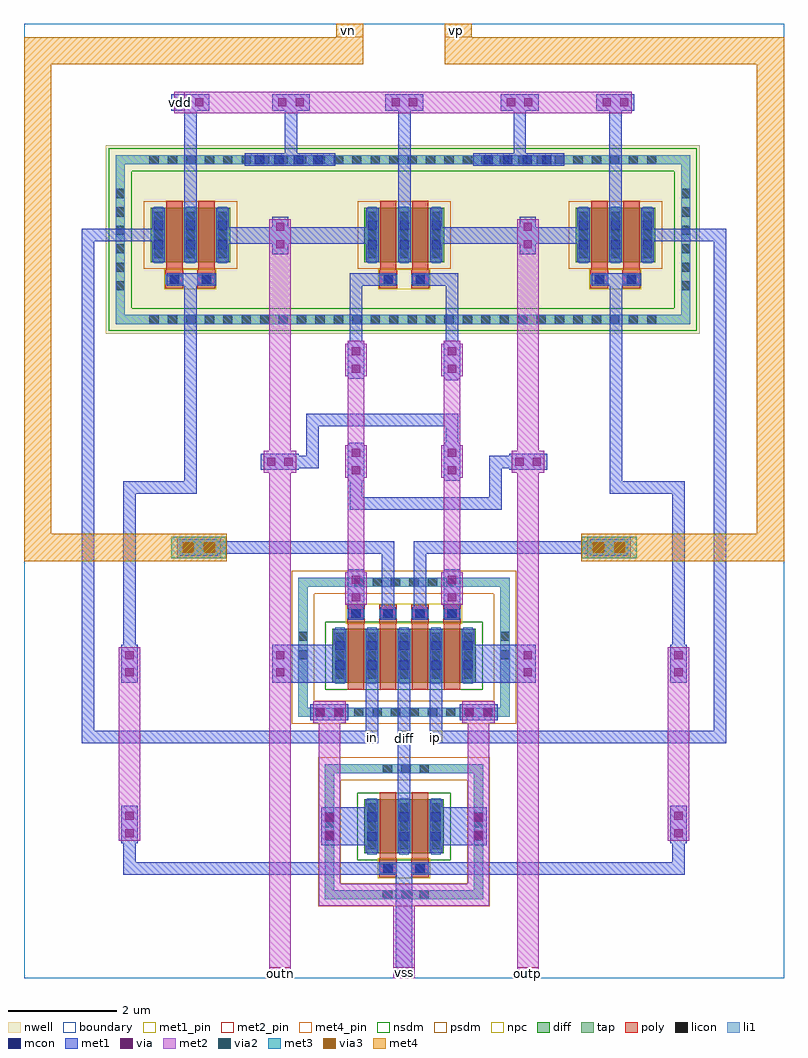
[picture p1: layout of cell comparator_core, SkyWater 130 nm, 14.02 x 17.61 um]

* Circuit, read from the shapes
.subckt comparator_core clk diff in ip outn outp vdd vn vp vss
XM1 in outp outn vss sky130_fd_pr__nfet_01v8 w=1 l=0.3
XM2 diff clk vss vss sky130_fd_pr__nfet_01v8 w=1 l=0.3 m=2
XM3 diff vn in vss sky130_fd_pr__nfet_01v8 w=1 l=0.3
XM4 ip vp diff vss sky130_fd_pr__nfet_01v8 w=1 l=0.3
XM5 outp outn ip vss sky130_fd_pr__nfet_01v8 w=1 l=0.3
XM6 vdd clk in vdd sky130_fd_pr__pfet_01v8 w=1 l=0.3
XM7 outn clk vdd vdd sky130_fd_pr__pfet_01v8 w=1 l=0.3
XM8 vdd outp outn vdd sky130_fd_pr__pfet_01v8 w=1 l=0.3
XM9 outp outn vdd vdd sky130_fd_pr__pfet_01v8 w=1 l=0.3
XM10 vdd clk outp vdd sky130_fd_pr__pfet_01v8 w=1 l=0.3
XM11 ip clk vdd vdd sky130_fd_pr__pfet_01v8 w=1 l=0.3
.ends

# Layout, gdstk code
from math import pi, radians
import gdstk
lib = gdstk.Library(unit=1e-6, precision=1e-09)
def R(c, l, rs):  # rectangles x0, y0, x1, y1
    for r in rs: c.add(gdstk.rectangle(r[:2], r[2:], *l))
def A(c, l, x, y, w, h, nx, ny, dx, dy):  # array of equal rectangles
    R(c, l, [(x+i*dx, y+j*dy, x+i*dx+w, y+j*dy+h) for i in range(nx) for j in range(ny)])
nwell = (64, 20)
diff = (65, 20)
tap = (65, 44)
poly = (66, 20)
licon = (66, 44)
li1 = (67, 20)
mcon = (67, 44)
met1_pin = (68, 16)
met1 = (68, 20)
via = (68, 44)
met2_pin = (69, 16)
met2 = (69, 20)
via2 = (69, 44)
met3 = (70, 20)
via3 = (70, 44)
met4_pin = (71, 16)
met4 = (71, 20)
nsdm = (93, 44)
psdm = (94, 20)
npc = (95, 20)
boundary = (235, 4)

gr_contact = lib.new_cell('gr_contact')
R(gr_contact, mcon, [(0.03,-0.01,0.2,0.16), (0.03,-0.01,0.2,0.16), (0.03,-0.01,0.2,0.16), (0.03,-0.01,0.2,0.16), (0.03,0.35,0.2,0.52), (0.03,0.35,0.2,0.52), (0.03,0.71,0.2,0.88), (0.03,0.71,0.2,0.88), (0.03,0.71,0.2,0.88), (0.03,0.71,0.2,0.88), (0.03,1.07,0.2,1.24), (0.03,1.07,0.2,1.24)])
gr_contact.add(gdstk.FlexPath([(0.115,1.36),(0.115,-0.085)], 0.23, ends="extended", simple_path=True, layer=68, datatype=20))  # met1

via2_1 = lib.new_cell('via2_1')
R(via2_1, met1, [(0,-0.15,0.7,0.15)])
R(via2_1, via, [(0.115,-0.075,0.265,0.075), (0.435,-0.075,0.585,0.075)])
R(via2_1, met2, [(0.05,-0.2,0.65,0.2)])

via1_2 = lib.new_cell('via1_2')
R(via1_2, li1, [(0.03,-0.17,0.56,0)])
R(via1_2, mcon, [(0.03,-0.17,0.2,0), (0.39,-0.17,0.56,0)])
R(via1_2, met1, [(0,-0.2,0.59,0.03)])

pguard = lib.new_cell('pguard')
R(pguard, tap, [(-5.3,-1.76,5.3,-1.59), (-5.3,-1.59,-5.13,1.19), (5.13,-1.59,5.3,1.19), (-5.3,1.19,5.3,1.36)])
A(pguard, licon, -4.675, -1.76, 0.17, 0.17, 28, 2, 0.34, 2.95)
A(pguard, licon, -5.3, -1.135, 0.17, 0.17, 1, 6, 0, 0.34)
A(pguard, licon, 5.13, -1.135, 0.17, 0.17, 1, 6, 0, 0.34)
R(pguard, li1, [(-5.3,-1.76,5.3,-1.59), (-5.3,-1.59,-5.13,1.19), (5.13,-1.59,5.3,1.19), (-5.3,1.19,5.3,1.36)])
R(pguard, nsdm, [(-5.425,-1.885,5.425,-1.465), (-5.425,-1.465,-5.005,1.065), (5.005,-1.465,5.425,1.065), (-5.425,1.065,5.425,1.485)])
R(pguard, boundary, [(-5.215,-1.675,5.215,1.275)])

c_m1 = lib.new_cell('M1')
R(c_m1, nwell, [(-0.62,-1.19,0.62,0.62)])
R(c_m1, diff, [(-0.44,-0.88,0.44,0.12)])
R(c_m1, poly, [(-0.15,-1.01,0.15,0.275), (-0.165,0.275,0.165,0.605)])
A(c_m1, licon, -0.38, -0.805, 0.17, 0.17, 1, 3, 0, 0.34)
A(c_m1, licon, 0.21, -0.805, 0.17, 0.17, 1, 3, 0, 0.34)
R(c_m1, licon, [(-0.085,0.355,0.085,0.525)])
R(c_m1, li1, [(-0.38,-0.9,-0.21,0.14), (0.21,-0.9,0.38,0.14), (-0.165,0.355,0.165,0.525)])
R(c_m1, mcon, [(-0.38,-0.645,-0.21,-0.475), (0.21,-0.645,0.38,-0.475), (-0.38,-0.285,-0.21,-0.115), (0.21,-0.285,0.38,-0.115), (-0.085,0.355,0.085,0.525)])
R(c_m1, met1, [(-0.41,-0.88,-0.18,0.12), (0.18,-0.88,0.41,0.12), (-0.145,0.325,0.145,0.555)])
R(c_m1, psdm, [(-0.565,-1.005,0.565,0.245)])
R(c_m1, npc, [(-0.185,0.255,0.185,0.625)])

c_m2 = lib.new_cell('M2')
R(c_m2, nwell, [(-0.62,-1.19,0.62,0.62)])
R(c_m2, diff, [(-0.44,-0.88,0.44,0.12)])
R(c_m2, poly, [(-0.15,-1.01,0.15,0.275), (-0.165,0.275,0.165,0.605)])
A(c_m2, licon, -0.38, -0.805, 0.17, 0.17, 1, 3, 0, 0.34)
A(c_m2, licon, 0.21, -0.805, 0.17, 0.17, 1, 3, 0, 0.34)
R(c_m2, licon, [(-0.085,0.355,0.085,0.525)])
R(c_m2, li1, [(-0.38,-0.9,-0.21,0.14), (0.21,-0.9,0.38,0.14), (-0.165,0.355,0.165,0.525)])
R(c_m2, mcon, [(-0.38,-0.645,-0.21,-0.475), (0.21,-0.645,0.38,-0.475), (-0.38,-0.285,-0.21,-0.115), (0.21,-0.285,0.38,-0.115), (-0.085,0.355,0.085,0.525)])
R(c_m2, met1, [(-0.41,-0.88,-0.18,0.12), (0.18,-0.88,0.41,0.12), (-0.145,0.325,0.145,0.555)])
R(c_m2, psdm, [(-0.565,-1.005,0.565,0.245)])
R(c_m2, npc, [(-0.185,0.255,0.185,0.625)])

c_m4 = lib.new_cell('M4')
R(c_m4, nwell, [(-0.62,-1.19,0.62,0.62)])
R(c_m4, diff, [(-0.44,-0.88,0.44,0.12)])
R(c_m4, poly, [(-0.15,-1.01,0.15,0.275), (-0.165,0.275,0.165,0.605)])
A(c_m4, licon, -0.38, -0.805, 0.17, 0.17, 1, 3, 0, 0.34)
A(c_m4, licon, 0.21, -0.805, 0.17, 0.17, 1, 3, 0, 0.34)
R(c_m4, licon, [(-0.085,0.355,0.085,0.525)])
R(c_m4, li1, [(-0.38,-0.9,-0.21,0.14), (0.21,-0.9,0.38,0.14), (-0.165,0.355,0.165,0.525)])
R(c_m4, mcon, [(-0.38,-0.645,-0.21,-0.475), (0.21,-0.645,0.38,-0.475), (-0.38,-0.285,-0.21,-0.115), (0.21,-0.285,0.38,-0.115), (-0.085,0.355,0.085,0.525)])
R(c_m4, met1, [(-0.41,-0.88,-0.18,0.12), (0.18,-0.88,0.41,0.12), (-0.145,0.325,0.145,0.555)])
R(c_m4, psdm, [(-0.565,-1.005,0.565,0.245)])
R(c_m4, npc, [(-0.185,0.255,0.185,0.625)])

c_m3 = lib.new_cell('M3')
R(c_m3, nwell, [(-0.62,-1.19,0.62,0.62)])
R(c_m3, diff, [(-0.44,-0.88,0.44,0.12)])
R(c_m3, poly, [(-0.15,-1.01,0.15,0.275), (-0.165,0.275,0.165,0.605)])
A(c_m3, licon, -0.38, -0.805, 0.17, 0.17, 1, 3, 0, 0.34)
A(c_m3, licon, 0.21, -0.805, 0.17, 0.17, 1, 3, 0, 0.34)
R(c_m3, licon, [(-0.085,0.355,0.085,0.525)])
R(c_m3, li1, [(-0.38,-0.9,-0.21,0.14), (0.21,-0.9,0.38,0.14), (-0.165,0.355,0.165,0.525)])
R(c_m3, mcon, [(-0.38,-0.645,-0.21,-0.475), (0.21,-0.645,0.38,-0.475), (-0.38,-0.285,-0.21,-0.115), (0.21,-0.285,0.38,-0.115), (-0.085,0.355,0.085,0.525)])
R(c_m3, met1, [(-0.41,-0.88,-0.18,0.12), (0.18,-0.88,0.41,0.12), (-0.145,0.325,0.145,0.555)])
R(c_m3, psdm, [(-0.565,-1.005,0.565,0.245)])
R(c_m3, npc, [(-0.185,0.255,0.185,0.625)])

mdiff = lib.new_cell('Mdiff')
R(mdiff, diff, [(-0.44,-0.855,0.44,0.145)])
R(mdiff, poly, [(-0.15,-0.985,0.15,0.255), (-0.165,0.255,0.165,0.585)])
A(mdiff, licon, -0.38, -0.78, 0.17, 0.17, 1, 3, 0, 0.34)
A(mdiff, licon, 0.21, -0.78, 0.17, 0.17, 1, 3, 0, 0.34)
R(mdiff, licon, [(-0.085,0.335,0.085,0.505)])
R(mdiff, li1, [(-0.38,-0.875,-0.21,0.165), (0.21,-0.875,0.38,0.165), (-0.165,0.335,0.165,0.505)])
R(mdiff, mcon, [(-0.38,-0.62,-0.21,-0.45), (0.21,-0.62,0.38,-0.45), (-0.38,-0.26,-0.21,-0.09), (0.21,-0.26,0.38,-0.09), (-0.085,0.335,0.085,0.505)])
R(mdiff, met1, [(-0.41,-0.855,-0.18,0.145), (0.18,-0.855,0.41,0.145), (-0.145,0.305,0.145,0.535)])
R(mdiff, nsdm, [(-0.565,-0.98,0.565,0.27)])
R(mdiff, npc, [(-0.185,0.235,0.185,0.605)])

ml2 = lib.new_cell('Ml2')
R(ml2, diff, [(-0.44,-0.855,0.44,0.145)])
R(ml2, poly, [(-0.15,-0.985,0.15,0.255), (-0.165,0.255,0.165,0.585)])
A(ml2, licon, -0.38, -0.78, 0.17, 0.17, 1, 3, 0, 0.34)
A(ml2, licon, 0.21, -0.78, 0.17, 0.17, 1, 3, 0, 0.34)
R(ml2, licon, [(-0.085,0.335,0.085,0.505)])
R(ml2, li1, [(-0.38,-0.875,-0.21,0.165), (0.21,-0.875,0.38,0.165), (-0.165,0.335,0.165,0.505)])
R(ml2, mcon, [(-0.38,-0.62,-0.21,-0.45), (0.21,-0.62,0.38,-0.45), (-0.38,-0.26,-0.21,-0.09), (0.21,-0.26,0.38,-0.09), (-0.085,0.335,0.085,0.505)])
R(ml2, met1, [(-0.41,-0.855,-0.18,0.145), (0.18,-0.855,0.41,0.145), (-0.145,0.305,0.145,0.535)])
R(ml2, nsdm, [(-0.565,-0.98,0.565,0.27)])
R(ml2, npc, [(-0.185,0.235,0.185,0.605)])

ml3 = lib.new_cell('Ml3')
R(ml3, nwell, [(-0.62,-1.19,0.62,0.62)])
R(ml3, diff, [(-0.44,-0.88,0.44,0.12)])
R(ml3, poly, [(-0.15,-1.01,0.15,0.275), (-0.165,0.275,0.165,0.605)])
A(ml3, licon, -0.38, -0.805, 0.17, 0.17, 1, 3, 0, 0.34)
A(ml3, licon, 0.21, -0.805, 0.17, 0.17, 1, 3, 0, 0.34)
R(ml3, licon, [(-0.085,0.355,0.085,0.525)])
R(ml3, li1, [(-0.38,-0.9,-0.21,0.14), (0.21,-0.9,0.38,0.14), (-0.165,0.355,0.165,0.525)])
R(ml3, mcon, [(-0.38,-0.645,-0.21,-0.475), (0.21,-0.645,0.38,-0.475), (-0.38,-0.285,-0.21,-0.115), (0.21,-0.285,0.38,-0.115), (-0.085,0.355,0.085,0.525)])
R(ml3, met1, [(-0.41,-0.88,-0.18,0.12), (0.18,-0.88,0.41,0.12), (-0.145,0.325,0.145,0.555)])
R(ml3, psdm, [(-0.565,-1.005,0.565,0.245)])
R(ml3, npc, [(-0.185,0.255,0.185,0.625)])

minn = lib.new_cell('Minn')
R(minn, diff, [(-0.44,-0.855,0.44,0.145)])
R(minn, poly, [(-0.15,-0.985,0.15,0.255), (-0.165,0.255,0.165,0.585)])
A(minn, licon, -0.38, -0.78, 0.17, 0.17, 1, 3, 0, 0.34)
A(minn, licon, 0.21, -0.78, 0.17, 0.17, 1, 3, 0, 0.34)
R(minn, licon, [(-0.085,0.335,0.085,0.505)])
R(minn, li1, [(-0.38,-0.875,-0.21,0.165), (0.21,-0.875,0.38,0.165), (-0.165,0.335,0.165,0.505)])
R(minn, mcon, [(-0.38,-0.62,-0.21,-0.45), (0.21,-0.62,0.38,-0.45), (-0.38,-0.26,-0.21,-0.09), (0.21,-0.26,0.38,-0.09), (-0.085,0.335,0.085,0.505)])
R(minn, met1, [(-0.41,-0.855,-0.18,0.145), (0.18,-0.855,0.41,0.145), (-0.145,0.305,0.145,0.535)])
R(minn, nsdm, [(-0.565,-0.98,0.565,0.27)])
R(minn, npc, [(-0.185,0.235,0.185,0.605)])

guardring_n_1 = lib.new_cell('Guardring_N_1')
A(guardring_n_1, licon, 41.85, 5.685, 0.17, 0.17, 3, 2, 0.34, 2.325)
R(guardring_n_1, licon, [(40.78,7.01,40.95,7.18), (43.53,7.01,43.7,7.18)])
guardring_n_1.add(gdstk.FlexPath([(40.78,8.095),(43.615,8.095),(43.615,5.77),(40.865,5.77),(40.865,8.095)], 0.17, ends="flush", simple_path=True, layer=67, datatype=20))  # li1
guardring_n_1.add(gdstk.FlexPath([(40.655,8.095),(43.615,8.095),(43.615,5.77),(40.865,5.77),(40.865,8.095)], 0.42, ends="flush", simple_path=True, layer=94, datatype=20))  # psdm
guardring_n_1.add(gdstk.FlexPath([(40.78,8.095),(43.615,8.095),(43.615,5.77),(40.865,5.77),(40.865,8.095)], 0.17, ends="flush", simple_path=True, layer=65, datatype=44))  # tap

guardring_n_4 = lib.new_cell('Guardring_N_4')
A(guardring_n_4, licon, 41.32, 9.05, 0.17, 0.17, 6, 2, 0.34, 2.4)
R(guardring_n_4, licon, [(40.29,10.11,40.46,10.28), (44.02,10.11,44.19,10.28), (40.29,10.45,40.46,10.62), (44.02,10.45,44.19,10.62)])
guardring_n_4.add(gdstk.FlexPath([(40.29,11.535),(44.105,11.535),(44.105,9.135),(40.375,9.135),(40.375,11.535)], 0.17, ends="flush", simple_path=True, layer=67, datatype=20))  # li1
guardring_n_4.add(gdstk.FlexPath([(40.165,11.535),(44.105,11.535),(44.105,9.135),(40.375,9.135),(40.375,11.535)], 0.42, ends="flush", simple_path=True, layer=94, datatype=20))  # psdm
guardring_n_4.add(gdstk.FlexPath([(40.29,11.535),(44.105,11.535),(44.105,9.135),(40.375,9.135),(40.375,11.535)], 0.17, ends="flush", simple_path=True, layer=65, datatype=44))  # tap

via34 = lib.new_cell('via34')
R(via34, met3, [(0.045,0,1.055,0.4)])
R(via34, via3, [(0.25,0.1,0.45,0.3), (0.65,0.1,0.85,0.3)])
R(via34, met4, [(0.045,-0.04,1.055,0.44)])

via23_2 = lib.new_cell('via23_2')
R(via23_2, met2, [(0.005,0.2,0.805,0.6)])
R(via23_2, via2, [(0.105,0.3,0.305,0.5), (0.505,0.3,0.705,0.5)])
R(via23_2, met3, [(0.005,0.2,0.805,0.6)])

minp = lib.new_cell('Minp')
R(minp, diff, [(-0.44,-0.855,0.44,0.145)])
R(minp, poly, [(-0.15,-0.985,0.15,0.255), (-0.165,0.255,0.165,0.585)])
A(minp, licon, -0.38, -0.78, 0.17, 0.17, 1, 3, 0, 0.34)
A(minp, licon, 0.21, -0.78, 0.17, 0.17, 1, 3, 0, 0.34)
R(minp, licon, [(-0.085,0.335,0.085,0.505)])
R(minp, li1, [(-0.38,-0.875,-0.21,0.165), (0.21,-0.875,0.38,0.165), (-0.165,0.335,0.165,0.505)])
R(minp, mcon, [(-0.38,-0.62,-0.21,-0.45), (0.21,-0.62,0.38,-0.45), (-0.38,-0.26,-0.21,-0.09), (0.21,-0.26,0.38,-0.09), (-0.085,0.335,0.085,0.505)])
R(minp, met1, [(-0.41,-0.855,-0.18,0.145), (0.18,-0.855,0.41,0.145), (-0.145,0.305,0.145,0.535)])
R(minp, nsdm, [(-0.565,-0.98,0.565,0.27)])
R(minp, npc, [(-0.185,0.235,0.185,0.605)])

ml4 = lib.new_cell('Ml4')
R(ml4, nwell, [(-0.62,-1.19,0.62,0.62)])
R(ml4, diff, [(-0.44,-0.88,0.44,0.12)])
R(ml4, poly, [(-0.15,-1.01,0.15,0.275), (-0.165,0.275,0.165,0.605)])
A(ml4, licon, -0.38, -0.805, 0.17, 0.17, 1, 3, 0, 0.34)
A(ml4, licon, 0.21, -0.805, 0.17, 0.17, 1, 3, 0, 0.34)
R(ml4, licon, [(-0.085,0.355,0.085,0.525)])
R(ml4, li1, [(-0.38,-0.9,-0.21,0.14), (0.21,-0.9,0.38,0.14), (-0.165,0.355,0.165,0.525)])
R(ml4, mcon, [(-0.38,-0.645,-0.21,-0.475), (0.21,-0.645,0.38,-0.475), (-0.38,-0.285,-0.21,-0.115), (0.21,-0.285,0.38,-0.115), (-0.085,0.355,0.085,0.525)])
R(ml4, met1, [(-0.41,-0.88,-0.18,0.12), (0.18,-0.88,0.41,0.12), (-0.145,0.325,0.145,0.555)])
R(ml4, psdm, [(-0.565,-1.005,0.565,0.245)])
R(ml4, npc, [(-0.185,0.255,0.185,0.625)])

ml1 = lib.new_cell('Ml1')
R(ml1, diff, [(-0.44,-0.855,0.44,0.145)])
R(ml1, poly, [(-0.15,-0.985,0.15,0.255), (-0.165,0.255,0.165,0.585)])
A(ml1, licon, -0.38, -0.78, 0.17, 0.17, 1, 3, 0, 0.34)
A(ml1, licon, 0.21, -0.78, 0.17, 0.17, 1, 3, 0, 0.34)
R(ml1, licon, [(-0.085,0.335,0.085,0.505)])
R(ml1, li1, [(-0.38,-0.875,-0.21,0.165), (0.21,-0.875,0.38,0.165), (-0.165,0.335,0.165,0.505)])
R(ml1, mcon, [(-0.38,-0.62,-0.21,-0.45), (0.21,-0.62,0.38,-0.45), (-0.38,-0.26,-0.21,-0.09), (0.21,-0.26,0.38,-0.09), (-0.085,0.335,0.085,0.505)])
R(ml1, met1, [(-0.41,-0.855,-0.18,0.145), (0.18,-0.855,0.41,0.145), (-0.145,0.305,0.145,0.535)])
R(ml1, nsdm, [(-0.565,-0.98,0.565,0.27)])
R(ml1, npc, [(-0.185,0.235,0.185,0.605)])

comparator_core = lib.new_cell('comparator_core')
R(comparator_core, nwell, [(1.51,11.685,12.47,15.165), (2.155,12.51,11.825,14.32)])
A(comparator_core, met1_pin, 6.305, 4.13, 0.23, 0.23, 3, 1, 0.59, 0)
R(comparator_core, met1_pin, [(6.86,-0.2,7.16,-0.05)])
R(comparator_core, met1, [(5.78,2.25,6.305,2.95), (7.715,2.25,8.24,2.95), (4.875,5.25,5.715,5.95), (8.305,5.25,9.145,5.95), (8.305,5.25,9.145,5.95)])
A(comparator_core, met2_pin, 4.525, -0.2, 0.4, 0.2, 3, 1, 2.285, 0)
R(comparator_core, met2_pin, [(2.77,15.755,2.97,16.155)])
R(comparator_core, met4_pin, [(5.76,17.155,6.26,17.405), (7.76,17.155,8.26,17.405)])
R(comparator_core, npc, [(6.53,1.64,7.49,2.01), (5.94,6.34,8.08,6.71), (2.59,12.505,3.55,12.875), (6.535,12.505,7.495,12.875), (10.43,12.505,11.39,12.875)])
R(comparator_core, boundary, [(0,-0.2,14.02,17.405)])
comparator_core.add(gdstk.FlexPath([(11.01,15.955),(2.97,15.955)], 0.4, ends="extended", simple_path=True, layer=69, datatype=20))  # met2
comparator_core.add(gdstk.FlexPath([(7.01,1.34),(7.01,0)], 0.4, ends="extended", simple_path=True, layer=69, datatype=20))  # met2
comparator_core.add(gdstk.FlexPath([(12.075,2.535),(12.075,5.7)], 0.4, ends="extended", simple_path=True, layer=69, datatype=20))  # met2
comparator_core.add(gdstk.FlexPath([(1.945,2.535),(1.945,5.7)], 0.4, ends="extended", simple_path=True, layer=69, datatype=20))  # met2
comparator_core.add(gdstk.FlexPath([(9.295,9.725),(9.295,13)], 0.4, ends="extended", simple_path=True, layer=69, datatype=20))  # met2
comparator_core.add(gdstk.FlexPath([(6.125,11.405),(6.125,9.78)], 0.3, ends="extended", simple_path=True, layer=69, datatype=20))  # met2
comparator_core.add(gdstk.FlexPath([(7.895,11.405),(7.895,9.78)], 0.3, ends="extended", simple_path=True, layer=69, datatype=20))  # met2
comparator_core.add(gdstk.FlexPath([(7.895,9.02),(7.895,7.395)], 0.3, ends="extended", simple_path=True, layer=69, datatype=20))  # met2
comparator_core.add(gdstk.FlexPath([(6.125,9.02),(6.125,7.14)], 0.3, ends="extended", simple_path=True, layer=69, datatype=20))  # met2
comparator_core.add(gdstk.FlexPath([(4.725,9.725),(4.725,13)], 0.4, ends="extended", simple_path=True, layer=69, datatype=20))  # met2
comparator_core.add(gdstk.FlexPath([(9.295,0),(9.295,8.925)], 0.4, ends="extended", simple_path=True, layer=69, datatype=20))  # met2
comparator_core.add(gdstk.FlexPath([(9.295,5.76),(9.295,8.925)], 0.4, ends="extended", simple_path=True, layer=69, datatype=20))  # met2
comparator_core.add(gdstk.FlexPath([(4.725,0),(4.725,8.925)], 0.4, ends="extended", simple_path=True, layer=69, datatype=20))  # met2
comparator_core.add(gdstk.FlexPath([(5.635,4.705),(5.635,1.34)], 0.4, ends="extended", simple_path=True, layer=69, datatype=20))  # met2
comparator_core.add(gdstk.FlexPath([(5.635,1.34),(8.385,1.34)], 0.4, ends="extended", simple_path=True, layer=69, datatype=20))  # met2
comparator_core.add(gdstk.FlexPath([(8.385,4.705),(8.385,1.34)], 0.4, ends="extended", simple_path=True, layer=69, datatype=20))  # met2
comparator_core.add(gdstk.FlexPath([(7.6,5.365),(7.6,4.245)], 0.23, ends="extended", simple_path=True, layer=68, datatype=20))  # met1
comparator_core.add(gdstk.FlexPath([(6.42,5.365),(6.42,4.245)], 0.23, ends="extended", simple_path=True, layer=68, datatype=20))  # met1
comparator_core.add(gdstk.FlexPath([(7.895,10.945),(7.895,12.69),(7.28,12.69)], 0.23, ends="extended", simple_path=True, layer=68, datatype=20))  # met1
comparator_core.add(gdstk.FlexPath([(11.03,7.745),(7.305,7.745)], 0.23, ends="extended", simple_path=True, layer=68, datatype=20))  # met1
comparator_core.add(gdstk.FlexPath([(8.835,9.325),(8.695,9.325),(8.695,8.56),(6.125,8.56),(6.125,8.865)], 0.23, ends="extended", simple_path=True, layer=68, datatype=20))  # met1
comparator_core.add(gdstk.FlexPath([(5.185,9.325),(5.325,9.325),(5.325,10.1),(7.895,10.1),(7.895,9.795)], 0.23, ends="extended", simple_path=True, layer=68, datatype=20))  # met1
comparator_core.add(gdstk.FlexPath([(7.305,6.525),(7.305,7.745)], 0.23, ends="extended", simple_path=True, layer=68, datatype=20))  # met1
comparator_core.add(gdstk.FlexPath([(6.715,6.525),(6.715,7.745)], 0.23, ends="extended", simple_path=True, layer=68, datatype=20))  # met1
comparator_core.add(gdstk.FlexPath([(7.01,5.365),(7.01,3.215)], 0.23, ends="extended", simple_path=True, layer=68, datatype=20))  # met1
comparator_core.add(gdstk.FlexPath([(6.125,11.21),(6.125,12.69),(6.75,12.69)], 0.23, ends="extended", simple_path=True, layer=68, datatype=20))  # met1
comparator_core.add(gdstk.FlexPath([(12.075,2.535),(12.075,1.825),(6.685,1.825)], 0.23, ends="extended", simple_path=True, layer=68, datatype=20))  # met1
comparator_core.add(gdstk.FlexPath([(11.275,12.69),(10.585,12.69)], 0.23, ends="extended", simple_path=True, layer=68, datatype=20))  # met1
comparator_core.add(gdstk.FlexPath([(1.945,2.535),(1.945,1.825),(7.335,1.825)], 0.23, ends="extended", simple_path=True, layer=68, datatype=20))  # met1
comparator_core.add(gdstk.FlexPath([(2.745,12.69),(3.435,12.69)], 0.23, ends="extended", simple_path=True, layer=68, datatype=20))  # met1
comparator_core.add(gdstk.FlexPath([(6.685,1.825),(7.335,1.825)], 0.23, ends="extended", simple_path=True, layer=68, datatype=20))  # met1
comparator_core.add(gdstk.FlexPath([(2.99,7.745),(6.715,7.745)], 0.23, ends="extended", simple_path=True, layer=68, datatype=20))  # met1
comparator_core.add(gdstk.FlexPath([(7.6,4.245),(12.84,4.245)], 0.23, ends="extended", simple_path=True, layer=68, datatype=20))  # met1
comparator_core.add(gdstk.FlexPath([(6.42,4.245),(1.18,4.245)], 0.23, ends="extended", simple_path=True, layer=68, datatype=20))  # met1
comparator_core.add(gdstk.FlexPath([(4.925,14.9),(4.925,15.955)], 0.23, ends="extended", simple_path=True, layer=68, datatype=20))  # met1
comparator_core.add(gdstk.FlexPath([(9.145,14.9),(9.145,15.955)], 0.23, ends="extended", simple_path=True, layer=68, datatype=20))  # met1
comparator_core.add(gdstk.FlexPath([(7.015,14.125),(7.015,15.915)], 0.23, ends="extended", simple_path=True, layer=68, datatype=20))  # met1
comparator_core.add(gdstk.FlexPath([(3.07,14.125),(3.07,15.915)], 0.23, ends="extended", simple_path=True, layer=68, datatype=20))  # met1
comparator_core.add(gdstk.FlexPath([(3.07,12.69),(3.07,8.855),(1.945,8.855),(1.945,5.38)], 0.23, ends="extended", simple_path=True, layer=68, datatype=20))  # met1
comparator_core.add(gdstk.FlexPath([(10.92,12.69),(10.92,8.855),(12.075,8.855),(12.075,5.38)], 0.23, ends="extended", simple_path=True, layer=68, datatype=20))  # met1
comparator_core.add(gdstk.FlexPath([(10.91,14.125),(10.91,15.915)], 0.23, ends="extended", simple_path=True, layer=68, datatype=20))  # met1
comparator_core.add(gdstk.FlexPath([(10.285,13.5),(7.64,13.5)], 0.3, ends="extended", simple_path=True, layer=68, datatype=20))  # met1
comparator_core.add(gdstk.FlexPath([(3.695,13.5),(6.39,13.5)], 0.3, ends="extended", simple_path=True, layer=68, datatype=20))  # met1
comparator_core.add(gdstk.FlexPath([(11.5,13.51),(12.84,13.51),(12.84,4.36)], 0.23, ends="extended", simple_path=True, layer=68, datatype=20))  # met1
comparator_core.add(gdstk.FlexPath([(2.48,13.51),(1.18,13.51),(1.18,4.36)], 0.23, ends="extended", simple_path=True, layer=68, datatype=20))  # met1
comparator_core.add(gdstk.FlexPath([(7.01,1.79),(7.01,-0.05)], 0.3, ends="extended", simple_path=True, layer=68, datatype=20))  # met1
comparator_core.add(gdstk.FlexPath([(13.77,16.905),(8.01,16.905),(8.01,17.155)], 0.5, ends="extended", simple_path=True, layer=71, datatype=20))  # met4
comparator_core.add(gdstk.FlexPath([(0.25,16.905),(6.01,16.905),(6.01,17.155)], 0.5, ends="extended", simple_path=True, layer=71, datatype=20))  # met4
comparator_core.add(gdstk.FlexPath([(10.53,7.745),(13.77,7.745),(13.77,16.905)], 0.5, ends="extended", simple_path=True, layer=71, datatype=20))  # met4
comparator_core.add(gdstk.FlexPath([(3.49,7.745),(0.25,7.745),(0.25,16.905)], 0.5, ends="extended", simple_path=True, layer=71, datatype=20))  # met4
comparator_core.add(gdstk.Reference(gr_contact, (4.27,15.015), rotation=3*pi/2))
comparator_core.add(gdstk.Reference(via2_1, (4.575,15.955)))
comparator_core.add(gdstk.Reference(gr_contact, (8.49,15.015), rotation=3*pi/2))
comparator_core.add(gdstk.Reference(via1_2, (8.09,4.79)))
comparator_core.add(gdstk.Reference(via2_1, (8.795,15.955)))
comparator_core.add(gdstk.Reference(via1_2, (5.55,2.305), rotation=pi/2))
comparator_core.add(gdstk.Reference(pguard, (6.99,13.625)))
comparator_core.add(gdstk.Reference(via2_1, (10.56,15.955)))
comparator_core.add(gdstk.Reference(via2_1, (2.72,15.955)))
comparator_core.add(gdstk.Reference(via2_1, (8.735,4.705), rotation=pi))
comparator_core.add(gdstk.Reference(via1_2, (8.3,2.305), rotation=pi/2))
comparator_core.add(gdstk.Reference(via2_1, (6.665,15.955)))
comparator_core.add(gdstk.Reference(via2_1, (9.295,13.15), rotation=pi/2, x_reflection=True))
comparator_core.add(gdstk.Reference(via2_1, (4.725,13.15), rotation=pi/2))
comparator_core.add(gdstk.Reference(c_m1, (2.775,13.13), x_reflection=True))
comparator_core.add(gdstk.Reference(c_m2, (3.365,13.13), x_reflection=True))
comparator_core.add(gdstk.Reference(c_m4, (11.205,13.13), x_reflection=True))
comparator_core.add(gdstk.Reference(c_m3, (10.615,13.13), x_reflection=True))
comparator_core.add(gdstk.Reference(via2_1, (7.895,10.855), rotation=pi/2))
comparator_core.add(gdstk.Reference(via2_1, (6.125,10.855), rotation=pi/2))
comparator_core.add(gdstk.Reference(via2_1, (7.895,7.34), rotation=3*pi/2))
comparator_core.add(gdstk.Reference(via2_1, (6.125,7.34), rotation=3*pi/2))
comparator_core.add(gdstk.Reference(via2_1, (7.895,8.98), rotation=pi/2))
comparator_core.add(gdstk.Reference(via2_1, (6.125,8.98), rotation=pi/2))
comparator_core.add(gdstk.Reference(via2_1, (5.07,9.325), rotation=pi))
comparator_core.add(gdstk.Reference(via2_1, (9.65,9.325), rotation=pi))
comparator_core.add(gdstk.Reference(mdiff, (6.715,2.245), x_reflection=True))
comparator_core.add(gdstk.Reference(ml2, (7.895,6.105), rotation=pi, x_reflection=True))
comparator_core.add(gdstk.Reference(via2_1, (4.725,5.95), rotation=3*pi/2, x_reflection=True))
comparator_core.add(gdstk.Reference(via2_1, (9.295,5.95), rotation=3*pi/2))
comparator_core.add(gdstk.Reference(ml3, (6.72,13.13), x_reflection=True))
comparator_core.add(gdstk.Reference(minn, (6.715,6.105)))
comparator_core.add(gdstk.Reference(guardring_n_1, (-35.23,-4.43)))
comparator_core.add(gdstk.Reference(via2_1, (5.635,2.95), rotation=3*pi/2, x_reflection=True))
comparator_core.add(gdstk.Reference(via2_1, (8.385,2.95), rotation=3*pi/2))
comparator_core.add(gdstk.Reference(via1_2, (5.34,4.79)))
comparator_core.add(gdstk.Reference(via2_1, (5.985,4.705), rotation=pi, x_reflection=True))
comparator_core.add(gdstk.Reference(guardring_n_4, (-35.23,-4.43)))
comparator_core.add(gdstk.Reference(mdiff, (7.305,2.245), x_reflection=True))
comparator_core.add(gdstk.Reference(via34, (11.345,7.945), rotation=pi))
comparator_core.add(gdstk.Reference(via23_2, (3.63,8.145), rotation=pi))
comparator_core.add(gdstk.Reference(via23_2, (11.2,8.145), rotation=pi))
comparator_core.add(gdstk.Reference(via34, (3.775,7.945), rotation=pi))
comparator_core.add(gdstk.Reference(minp, (7.305,6.105)))
comparator_core.add(gdstk.Reference(ml4, (7.31,13.13), x_reflection=True))
comparator_core.add(gdstk.Reference(ml1, (6.125,6.105), rotation=pi, x_reflection=True))
comparator_core.add(gdstk.Reference(via2_1, (2.875,7.745), x_reflection=True))
comparator_core.add(gdstk.Reference(via2_1, (11.145,7.745), rotation=pi))
comparator_core.add(gdstk.Reference(via2_1, (12.075,2.985), rotation=3*pi/2))
comparator_core.add(gdstk.Reference(via2_1, (12.075,5.95), rotation=3*pi/2))
comparator_core.add(gdstk.Reference(via2_1, (1.945,2.985), rotation=3*pi/2, x_reflection=True))
comparator_core.add(gdstk.Reference(via2_1, (1.945,5.95), rotation=3*pi/2, x_reflection=True))
comparator_core.add(gdstk.Label('vdd', (2.885,15.96), layer=69, texttype=5))
comparator_core.add(gdstk.Label('vss', (7.01,-0.1), layer=69, texttype=5))
comparator_core.add(gdstk.Label('outp', (9.295,-0.105), layer=69, texttype=5))
comparator_core.add(gdstk.Label('outn', (4.725,-0.105), layer=69, texttype=5))
comparator_core.add(gdstk.Label('clk', (7.01,-0.125), layer=68, texttype=5))
comparator_core.add(gdstk.Label('ip', (7.6,4.245), layer=68, texttype=5))
comparator_core.add(gdstk.Label('in', (6.42,4.245), layer=68, texttype=5))
comparator_core.add(gdstk.Label('diff', (7.01,4.23), layer=68, texttype=5))
comparator_core.add(gdstk.Label('vp', (7.985,17.28), layer=71, texttype=5))
comparator_core.add(gdstk.Label('vn', (5.985,17.28), layer=71, texttype=5))

lib.write_gds('comparator_core.gds')
